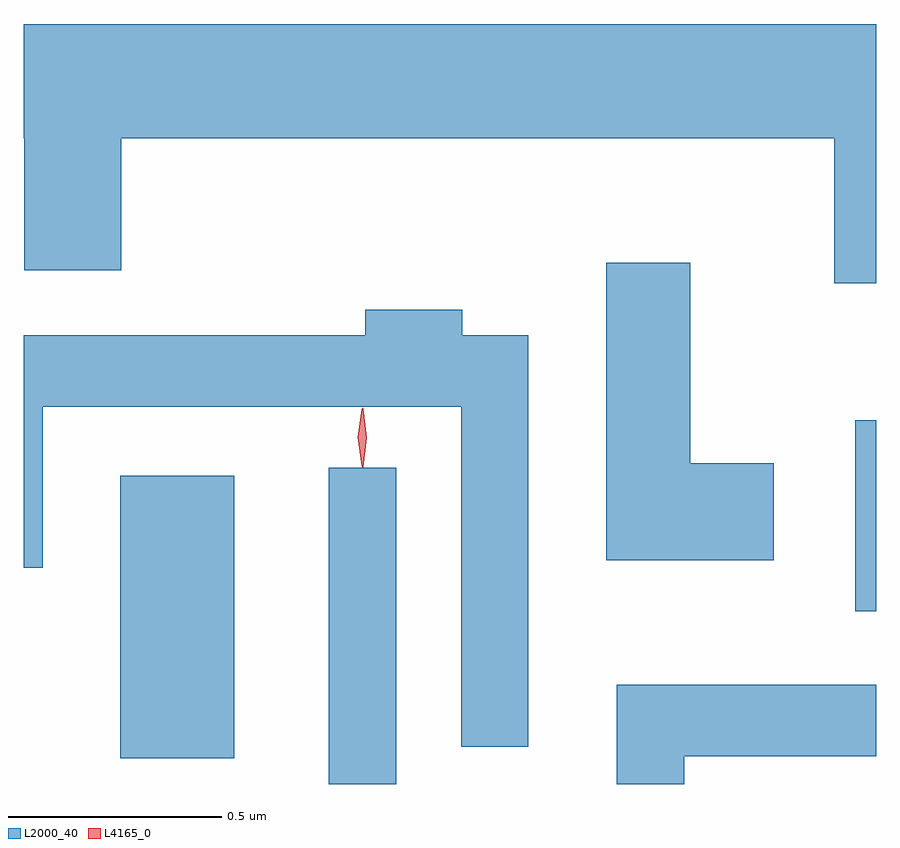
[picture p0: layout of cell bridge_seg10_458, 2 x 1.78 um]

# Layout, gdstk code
import gdstk
lib = gdstk.Library(unit=1e-6, precision=1e-09)
def R(c, l, rs):  # rectangles x0, y0, x1, y1
    for r in rs: c.add(gdstk.rectangle(r[:2], r[2:], *l))
def P(c, l, *ps):  # polygons
    for p in ps: c.add(gdstk.Polygon(p, *l))
L2000_40 = (2000, 40)
L4165_0 = (4165, 0)

bridge_seg10_458 = lib.new_cell('bridge_seg10_458')
R(bridge_seg10_458, L2000_40, [(1396.796,2141.261,1396.954,2142.003), (1396.306,2141.321,1396.574,2141.984), (1398.031,2141.666,1398.08,2142.114)])
P(bridge_seg10_458, L2000_40, [(1398.08,2143.044),(1396.08,2143.044),(1396.08,2142.776),(1396.081,2142.776),(1396.081,2142.466),(1396.309,2142.466),(1396.309,2142.776),(1397.981,2142.776),(1397.981,2142.436),(1398.08,2142.436)],
  [(1397.839,2142.014),(1397.644,2142.014),(1397.644,2142.484),(1397.446,2142.484),(1397.446,2141.786),(1397.839,2141.786)],
  [(1397.264,2142.314),(1397.109,2142.314),(1397.109,2142.374),(1396.881,2142.374),(1396.881,2142.314),(1396.08,2142.314),(1396.08,2141.768),(1396.124,2141.768),(1396.124,2142.146),(1397.106,2142.146),(1397.106,2141.348),(1397.264,2141.348)],
  [(1397.629,2141.326),(1398.08,2141.326),(1398.08,2141.494),(1397.471,2141.494),(1397.471,2141.261),(1397.629,2141.261)])
P(bridge_seg10_458, L4165_0, [(1396.874,2142.007),(1396.873,2142.008),(1396.864,2142.074),(1396.873,2142.14),(1396.874,2142.14),(1396.874,2142.14),(1396.884,2142.074),(1396.874,2142.008)],
  [(1396.874,2142.004),(1396.865,2142.073),(1396.874,2142.142),(1396.875,2142.143),(1396.876,2142.142),(1396.885,2142.073),(1396.876,2142.004),(1396.875,2142.004)])

lib.write_gds('bridge_seg10_458.gds')
